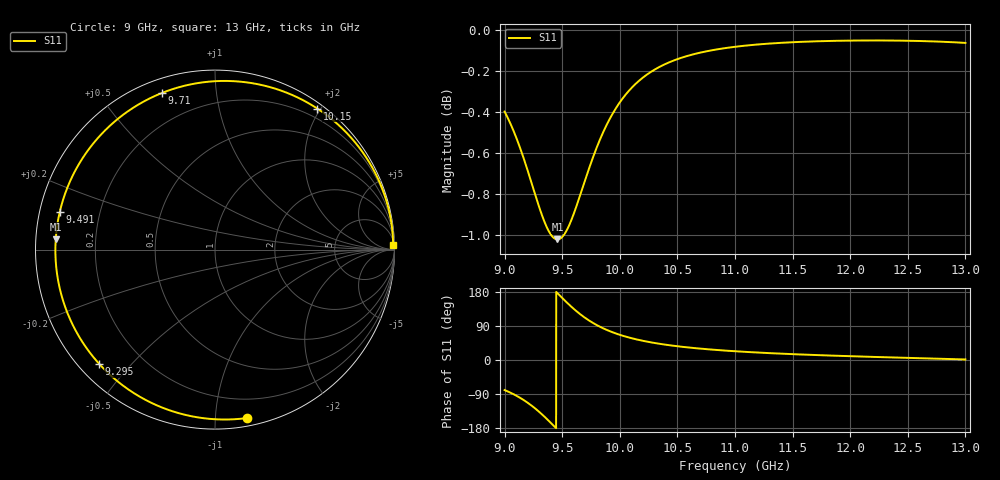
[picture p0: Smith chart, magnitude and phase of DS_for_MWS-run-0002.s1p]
! TOUCHSTONE file generated by CST DESIGN STUDIO
! Date and time: Tue Feb  4 18:30:31 2025
! Project name: C:\Work\MatlabApps\UnitCellOptimizationMatlab\CST\unitcell.cst
! Tree item: Tasks\Sweep1\SPara1\S-Parameters
! Header version: 2024
! Port assignment regex: !\s*Touchstone port\s*([0-9]+)\s*=\s*(CST MWS port|CST DES external port|CST DES block port)\s*(.+)\s* \(\"(.*)\"\)(\s*mode\s*([0-9]+))?.*
! Touchstone port assignment:
! Touchstone port 1 = CST DES external port 1 ("")
# GHz S MA R 50
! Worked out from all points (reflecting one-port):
!   4001 points, 9 GHz to 13 GHz, reference 50 ohm
!   lowest |S11| = -1.0 dB at 9.459 GHz (marker M1), VSWR 17.06, Z = 2.93 + j1.61 ohm
!   phase of S11 starts at -79 deg and turns -279 deg over the sweep
!   S11 on the Smith chart (normalised r, x): 9 GHz: 0.06, -1.20; 9.295 GHz: 0.06, -0.41; 9.491 GHz: 0.06, +0.12; 9.71 GHz: 0.06, +0.71; 10.15 GHz: 0.07, +1.96; 13 GHz: 23, +75
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9  0.9552 -79.3
9.091  0.9429 -92.4
9.165  0.9306 -105.6
9.232  0.9182 -119.9
9.295  0.9064 -135.5
9.337  0.8994 -147.0
9.383  0.8934 -160.4
9.421  0.8903 -172.0
9.459  0.8892 176.3
9.491  0.89 166.4
9.5  0.8905 163.7
9.549  0.8949 149.2
9.606  0.903 133.4
9.657  0.9117 120.7
9.71  0.9212 108.9
9.766  0.9308 98.0
9.83  0.9407 87.4
9.913  0.9513 76.0
10  0.9601 66.5
10.149  0.9708 54.1
10.308  0.9781 44.6
10.5  0.9836 36.3
10.723  0.9876 29.3
11  0.9905 23.1
11.5  0.993 15.4
12  0.9939 10.0
12.5  0.9938 5.6
13  0.9926 1.4
